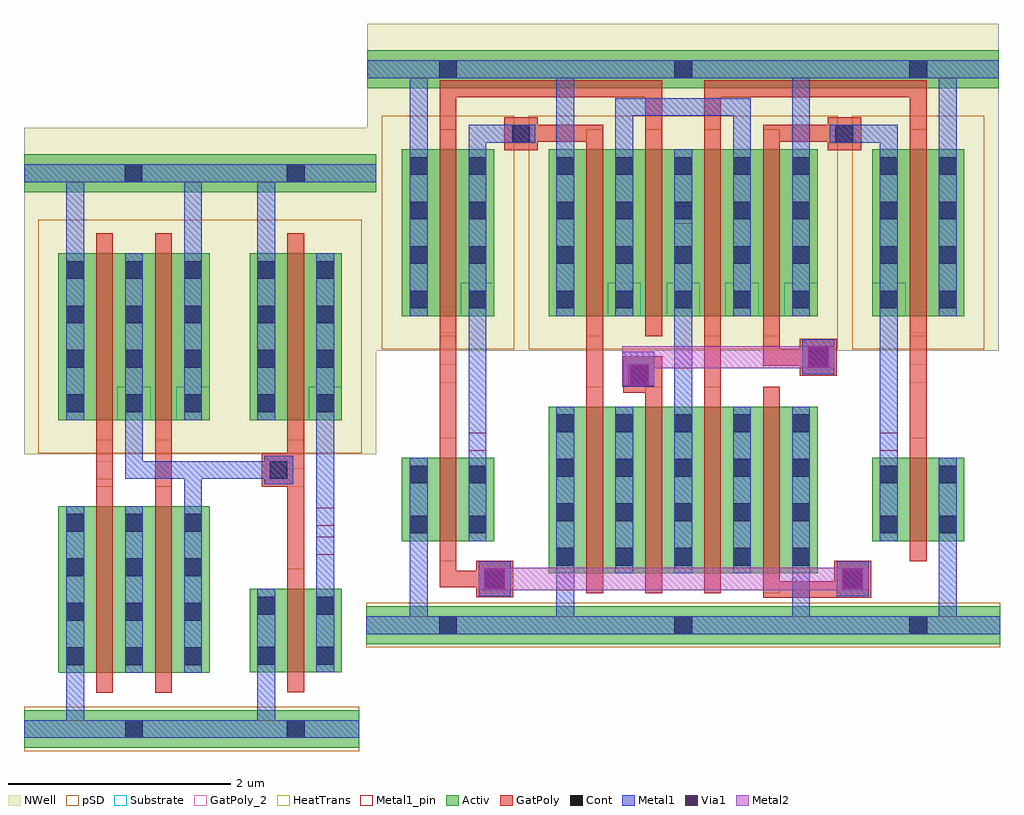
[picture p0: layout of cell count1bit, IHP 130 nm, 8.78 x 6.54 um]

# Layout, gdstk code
from math import pi, radians
import gdstk
lib = gdstk.Library(unit=1e-6, precision=5e-09)
def R(c, l, rs):  # rectangles x0, y0, x1, y1
    for r in rs: c.add(gdstk.rectangle(r[:2], r[2:], *l))
def A(c, l, x, y, w, h, nx, ny, dx, dy):  # array of equal rectangles
    R(c, l, [(x+i*dx, y+j*dy, x+i*dx+w, y+j*dy+h) for i in range(nx) for j in range(ny)])
Activ = (1, 0)
GatPoly = (5, 0)
GatPoly_2 = (5, 2)
Cont = (6, 0)
Metal1 = (8, 0)
Metal1_pin = (8, 2)
Metal2 = (10, 0)
pSD = (14, 0)
Via1 = (19, 0)
NWell = (31, 0)
Substrate = (40, 0)
HeatTrans = (51, 0)

nmos_1_1 = lib.new_cell('nmos$1$1')
R(nmos_1_1, Activ, [(0,0,0.3,0.3), (0,0,0.83,1.5), (0.53,0,0.83,0.3)])
R(nmos_1_1, GatPoly, [(0.34,-0.18,0.49,1.68)])
R(nmos_1_1, GatPoly_2, [(0.34,-0.18,0.49,1.68)])
A(nmos_1_1, Cont, 0.07, 0.07, 0.16, 0.16, 1, 4, 0, 0.4)
A(nmos_1_1, Cont, 0.6, 0.07, 0.16, 0.16, 1, 4, 0, 0.4)
R(nmos_1_1, Metal1, [(0.07,0,0.23,1.5), (0.6,0,0.76,1.5)])
R(nmos_1_1, Metal1_pin, [(0.07,0,0.23,1.5), (0.6,0,0.76,1.5)])
R(nmos_1_1, HeatTrans, [(0.34,-0.18,0.49,1.68)])
nmos_1_1.add(gdstk.Label('nmos', (0.415,0.75), layer=63, texttype=0))
nmos_1_1.add(gdstk.Label('nmos', (0.415,0.75), layer=51, texttype=0))

pmos_2 = lib.new_cell('pmos$2')
R(pmos_2, Activ, [(0,0,0.3,0.3), (0,0,0.83,1.5), (0.53,0,0.83,0.3)])
R(pmos_2, GatPoly, [(0.34,-0.18,0.49,1.68), (0.34,-0.18,0.49,1.68)])
A(pmos_2, Cont, 0.07, 0.07, 0.16, 0.16, 1, 4, 0, 0.4)
A(pmos_2, Cont, 0.6, 0.07, 0.16, 0.16, 1, 4, 0, 0.4)
R(pmos_2, Metal1, [(0.07,0,0.23,1.5), (0.07,0,0.23,1.5), (0.6,0,0.76,1.5), (0.6,0,0.76,1.5)])
R(pmos_2, pSD, [(-0.18,-0.3,1.01,1.8)])
R(pmos_2, NWell, [(-0.31,-0.31,1.14,1.81)])
R(pmos_2, Substrate, [(0.53,0,0.83,0.3)])
R(pmos_2, HeatTrans, [(0.34,-0.18,0.49,1.68)])
pmos_2.add(gdstk.Label('pmos', (0.415,0.75), layer=63, texttype=0))
pmos_2.add(gdstk.Label('pmos', (0.415,0.75), layer=51, texttype=0))

nand = lib.new_cell('nand')
R(nand, Activ, [(-2.935,-1.84,-0.955,-1.5), (-2.935,3.16,-0.955,3.5)])
R(nand, GatPoly, [(-2.285,-0.62,-2.135,1.58), (-1.755,-0.62,-1.605,1.585)])
R(nand, GatPoly_2, [(-1.755,0.46,-1.605,0.625), (-2.285,0.575,-2.135,0.74)])
R(nand, Cont, [(-2.025,-1.75,-1.865,-1.59), (-2.025,-1.75,-1.865,-1.59), (-2.03,3.25,-1.87,3.41)])
R(nand, Metal1, [(-2.935,-1.75,-0.955,-1.59), (-2.555,-1.75,-2.395,-0.535), (-1.495,-0.13,-1.335,0.74), (-2.555,1.98,-2.395,3.41), (-1.495,1.98,-1.335,3.41), (-2.935,3.25,-0.955,3.41)])
R(nand, Metal1_pin, [(-2.935,-1.75,-0.955,-1.59), (-1.495,-0.295,-1.335,-0.135), (-2.935,3.25,-0.955,3.41), (-2.03,3.25,-1.87,3.41)])
R(nand, pSD, [(-2.935,-1.87,-0.955,-1.47)])
R(nand, NWell, [(-2.935,2.92,-0.955,3.74)])
nand.add(gdstk.FlexPath([(-1.945,1.74),(-1.945,0.66),(-1.335,0.66)], 0.16, ends="flush", simple_path=True, layer=8, datatype=0))  # Metal1
nand.add(gdstk.Reference(nmos_1_1, (-2.625,-1.165)))
nand.add(gdstk.Reference(nmos_1_1, (-2.095,-1.165)))
nand.add(gdstk.Reference(pmos_2, (-2.625,1.11)))
nand.add(gdstk.Reference(pmos_2, (-2.095,1.11)))
nand.add(gdstk.Label('vss', (-1.955,-1.685), layer=8, texttype=2))
nand.add(gdstk.Label('vdd', (-1.965,3.325), layer=8, texttype=2))
nand.add(gdstk.Label('out', (-1.415,-0.22), layer=8, texttype=2))
nand.add(gdstk.Label('b', (-1.705,0.545), layer=5, texttype=2))
nand.add(gdstk.Label('a', (-2.235,0.66), layer=5, texttype=2))

m1_cont1_pmos = lib.new_cell('M1_Cont1_PMOS')
R(m1_cont1_pmos, Activ, [(-0.72,-0.175,0.73,0.165)])
R(m1_cont1_pmos, Cont, [(-0.075,-0.085,0.085,0.075)])
R(m1_cont1_pmos, Metal1, [(-0.72,-0.085,0.73,0.075)])
R(m1_cont1_pmos, Metal1_pin, [(-0.72,-0.085,0.73,0.075)])
R(m1_cont1_pmos, NWell, [(-0.72,-0.415,0.73,0.405)])

m1_bulkcont1_pmos = lib.new_cell('M1_BulkCont1_PMOS')
r = gdstk.Reference(m1_cont1_pmos, (-0.015,-0.015)); r.repetition = gdstk.Repetition(1, 1, v1=(0,0), v2=(0,0)); m1_bulkcont1_pmos.add(r)

m1_cont1_nmos = lib.new_cell('M1_Cont1_NMOS')
R(m1_cont1_nmos, Activ, [(-0.56,-0.175,0.58,0.165)])
R(m1_cont1_nmos, Cont, [(-0.07,-0.085,0.09,0.075)])
R(m1_cont1_nmos, Metal1, [(-0.56,-0.085,0.58,0.075)])
R(m1_cont1_nmos, Metal1_pin, [(-0.56,-0.085,0.58,0.075)])
R(m1_cont1_nmos, pSD, [(-0.56,-0.205,0.58,0.195)])

m1_bulkcont1_nmos = lib.new_cell('M1_BulkCont1_NMOS')
r = gdstk.Reference(m1_cont1_nmos, (0.005,0.01)); r.repetition = gdstk.Repetition(1, 1, v1=(0,0), v2=(0,0)); m1_bulkcont1_nmos.add(r)

nmos_1 = lib.new_cell('nmos$1')
R(nmos_1, Activ, [(0,0,0.3,0.3), (0,0,0.83,0.75), (0.53,0,0.83,0.3)])
R(nmos_1, GatPoly, [(0.34,-0.18,0.49,0.93)])
R(nmos_1, GatPoly_2, [(0.34,-0.18,0.49,0.93)])
R(nmos_1, Cont, [(0.07,0.07,0.23,0.23), (0.6,0.07,0.76,0.23), (0.07,0.52,0.23,0.68), (0.6,0.52,0.76,0.68)])
R(nmos_1, Metal1, [(0.07,0,0.23,0.75), (0.6,0,0.76,0.75)])
R(nmos_1, Metal1_pin, [(0.07,0,0.23,0.75), (0.6,0,0.76,0.75)])
R(nmos_1, HeatTrans, [(0.34,-0.18,0.49,0.93)])
nmos_1.add(gdstk.Label('nmos', (0.415,0.375), layer=63, texttype=0))
nmos_1.add(gdstk.Label('nmos', (0.415,0.375), layer=51, texttype=0))

pmos_1_1 = lib.new_cell('pmos$1$1')
R(pmos_1_1, Activ, [(0,0,0.3,0.3), (0,0,0.83,1.5), (0.53,0,0.83,0.3)])
R(pmos_1_1, GatPoly, [(0.34,-0.18,0.49,1.68), (0.34,-0.18,0.49,1.68)])
A(pmos_1_1, Cont, 0.07, 0.07, 0.16, 0.16, 1, 4, 0, 0.4)
A(pmos_1_1, Cont, 0.6, 0.07, 0.16, 0.16, 1, 4, 0, 0.4)
R(pmos_1_1, Metal1, [(0.07,0,0.23,1.5), (0.07,0,0.23,1.5), (0.6,0,0.76,1.5), (0.6,0,0.76,1.5)])
R(pmos_1_1, pSD, [(-0.18,-0.3,1.01,1.8)])
R(pmos_1_1, NWell, [(-0.31,-0.31,1.14,1.81)])
R(pmos_1_1, Substrate, [(0.53,0,0.83,0.3)])
R(pmos_1_1, HeatTrans, [(0.34,-0.18,0.49,1.68)])
pmos_1_1.add(gdstk.Label('pmos', (0.415,0.75), layer=63, texttype=0))
pmos_1_1.add(gdstk.Label('pmos', (0.415,0.75), layer=51, texttype=0))

inverter = lib.new_cell('inverter')
R(inverter, GatPoly, [(-0.075,-1.72,0.075,0.805)])
R(inverter, GatPoly_2, [(-0.075,-0.425,0.075,-0.26)])
R(inverter, Cont, [(-0.08,-2.685,0.08,-2.525), (-0.08,2.315,0.08,2.475)])
R(inverter, Metal1, [(-0.345,-2.685,-0.185,-1.72), (0.185,-1.72,0.345,0.805), (-0.345,1.37,-0.185,2.475)])
R(inverter, Metal1_pin, [(-0.08,-2.685,0.08,-2.525), (0.185,-1.035,0.345,-0.875), (-0.08,2.315,0.08,2.475)])
inverter.add(gdstk.Reference(m1_bulkcont1_pmos, (0.01,2.415)))
inverter.add(gdstk.Reference(m1_bulkcont1_nmos, (-0.015,-2.61)))
inverter.add(gdstk.Reference(nmos_1, (-0.415,-2.095)))
inverter.add(gdstk.Reference(pmos_1_1, (-0.415,0.175)))
inverter.add(gdstk.Label('vdd', (-0.015,2.39), layer=8, texttype=2))
inverter.add(gdstk.Label('vss', (-0.01,-2.62), layer=8, texttype=2))
inverter.add(gdstk.Label('out', (0.27,-0.95), layer=8, texttype=2))
inverter.add(gdstk.Label('in', (-0.025,-0.34), layer=5, texttype=2))

andgate = lib.new_cell('andgate')
R(andgate, GatPoly, [(0.49,-0.425,0.87,-0.125)])
R(andgate, GatPoly_2, [(-0.47,-0.36,-0.32,-0.2), (-1,-0.355,-0.85,-0.195)])
R(andgate, Cont, [(0.56,-0.355,0.72,-0.195)])
R(andgate, Metal1, [(-0.13,-2.685,0.03,-2.525), (0.51,-0.405,0.77,-0.145), (-0.05,-0.355,0.72,-0.195), (-0.21,2.315,-0.05,2.475)])
R(andgate, Metal1_pin, [(0.98,-0.775,1.14,-0.615)])
andgate.add(gdstk.Reference(nand, (1.285,-0.935)))
andgate.add(gdstk.Reference(inverter, (0.795,0)))
andgate.add(gdstk.Label('vdd', (-0.13,2.395), layer=8, texttype=0))
andgate.add(gdstk.Label('vss', (-0.055,-2.62), layer=8, texttype=0))
andgate.add(gdstk.Label('out', (1.06,-0.695), layer=8, texttype=2))
andgate.add(gdstk.Label('a', (-0.925,-0.275), layer=5, texttype=2))
andgate.add(gdstk.Label('b', (-0.395,-0.28), layer=5, texttype=2))

pmos = lib.new_cell('pmos')
R(pmos, Activ, [(0,0,0.3,0.3), (0,0,0.83,1.5), (0.53,0,0.83,0.3)])
R(pmos, GatPoly, [(0.34,-0.18,0.49,1.68), (0.34,-0.18,0.49,1.68)])
A(pmos, Cont, 0.07, 0.07, 0.16, 0.16, 1, 4, 0, 0.4)
A(pmos, Cont, 0.6, 0.07, 0.16, 0.16, 1, 4, 0, 0.4)
R(pmos, Metal1, [(0.07,0,0.23,1.5), (0.07,0,0.23,1.5), (0.6,0,0.76,1.5), (0.6,0,0.76,1.5)])
R(pmos, pSD, [(-0.18,-0.3,1.01,1.8)])
R(pmos, NWell, [(-0.31,-0.31,1.14,1.81)])
R(pmos, Substrate, [(0.53,0,0.83,0.3)])
R(pmos, HeatTrans, [(0.34,-0.18,0.49,1.68)])
pmos.add(gdstk.Label('pmos', (0.415,0.75), layer=63, texttype=0))
pmos.add(gdstk.Label('pmos', (0.415,0.75), layer=51, texttype=0))

nmos = lib.new_cell('nmos')
R(nmos, Activ, [(0,0,0.3,0.3), (0,0,0.83,1.5), (0.53,0,0.83,0.3)])
R(nmos, GatPoly, [(0.34,-0.18,0.49,1.68)])
R(nmos, GatPoly_2, [(0.34,-0.18,0.49,1.68)])
A(nmos, Cont, 0.07, 0.07, 0.16, 0.16, 1, 4, 0, 0.4)
A(nmos, Cont, 0.6, 0.07, 0.16, 0.16, 1, 4, 0, 0.4)
R(nmos, Metal1, [(0.07,0,0.23,1.5), (0.6,0,0.76,1.5)])
R(nmos, Metal1_pin, [(0.07,0,0.23,1.5), (0.6,0,0.76,1.5)])
R(nmos, HeatTrans, [(0.34,-0.18,0.49,1.68)])
nmos.add(gdstk.Label('nmos', (0.415,0.75), layer=63, texttype=0))
nmos.add(gdstk.Label('nmos', (0.415,0.75), layer=51, texttype=0))

via_stack_1 = lib.new_cell('via_stack$1')
R(via_stack_1, Metal1, [(-0.145,-0.105,0.145,0.105)])
R(via_stack_1, Metal2, [(-0.145,-0.1,0.145,0.1)])
R(via_stack_1, Via1, [(-0.095,-0.095,0.095,0.095)])

m1_cont1_pmos_2 = lib.new_cell('M1_Cont1_PMOS$2')
R(m1_cont1_pmos_2, Activ, [(-0.72,-0.175,0.73,0.165)])
R(m1_cont1_pmos_2, Cont, [(-0.075,-0.085,0.085,0.075)])
R(m1_cont1_pmos_2, Metal1, [(-0.72,-0.085,0.73,0.075)])
R(m1_cont1_pmos_2, Metal1_pin, [(-0.72,-0.085,0.73,0.075)])
R(m1_cont1_pmos_2, NWell, [(-0.72,-0.415,0.73,0.405)])

m1_bulkcont1_pmos_2 = lib.new_cell('M1_BulkCont1_PMOS$2')
r = gdstk.Reference(m1_cont1_pmos_2, (-0.015,-0.015)); r.repetition = gdstk.Repetition(1, 1, v1=(0,0), v2=(0,0)); m1_bulkcont1_pmos_2.add(r)

m1_cont1_nmos_2 = lib.new_cell('M1_Cont1_NMOS$2')
R(m1_cont1_nmos_2, Activ, [(-0.725,-0.175,0.725,0.165)])
R(m1_cont1_nmos_2, Cont, [(-0.07,-0.085,0.09,0.075)])
R(m1_cont1_nmos_2, Metal1, [(-0.725,-0.085,0.725,0.075)])
R(m1_cont1_nmos_2, Metal1_pin, [(-0.725,-0.085,0.725,0.075)])
R(m1_cont1_nmos_2, pSD, [(-0.725,-0.205,0.725,0.195)])

m1_bulkcont1_nmos_2 = lib.new_cell('M1_BulkCont1_NMOS$2')
r = gdstk.Reference(m1_cont1_nmos_2, (0.005,0.01)); r.repetition = gdstk.Repetition(1, 1, v1=(0,0), v2=(0,0)); m1_bulkcont1_nmos_2.add(r)

nmos_2 = lib.new_cell('nmos$2')
R(nmos_2, Activ, [(0,0,0.3,0.3), (0,0,0.83,0.75), (0.53,0,0.83,0.3)])
R(nmos_2, GatPoly, [(0.34,-0.18,0.49,0.93)])
R(nmos_2, GatPoly_2, [(0.34,-0.18,0.49,0.93)])
R(nmos_2, Cont, [(0.07,0.07,0.23,0.23), (0.6,0.07,0.76,0.23), (0.07,0.52,0.23,0.68), (0.6,0.52,0.76,0.68)])
R(nmos_2, Metal1, [(0.07,0,0.23,0.75), (0.6,0,0.76,0.75)])
R(nmos_2, Metal1_pin, [(0.07,0,0.23,0.75), (0.6,0,0.76,0.75)])
R(nmos_2, HeatTrans, [(0.34,-0.18,0.49,0.93)])
nmos_2.add(gdstk.Label('nmos', (0.415,0.375), layer=63, texttype=0))
nmos_2.add(gdstk.Label('nmos', (0.415,0.375), layer=51, texttype=0))

pmos_1_1_1 = lib.new_cell('pmos$1$1$1')
R(pmos_1_1_1, Activ, [(0,0,0.3,0.3), (0,0,0.83,1.5), (0.53,0,0.83,0.3)])
R(pmos_1_1_1, GatPoly, [(0.34,-0.18,0.49,1.68), (0.34,-0.18,0.49,1.68)])
A(pmos_1_1_1, Cont, 0.07, 0.07, 0.16, 0.16, 1, 4, 0, 0.4)
A(pmos_1_1_1, Cont, 0.6, 0.07, 0.16, 0.16, 1, 4, 0, 0.4)
R(pmos_1_1_1, Metal1, [(0.07,0,0.23,1.5), (0.07,0,0.23,1.5), (0.6,0,0.76,1.5), (0.6,0,0.76,1.5)])
R(pmos_1_1_1, pSD, [(-0.18,-0.3,1.01,1.8)])
R(pmos_1_1_1, NWell, [(-0.31,-0.31,1.14,1.81)])
R(pmos_1_1_1, Substrate, [(0.53,0,0.83,0.3)])
R(pmos_1_1_1, HeatTrans, [(0.34,-0.18,0.49,1.68)])
pmos_1_1_1.add(gdstk.Label('pmos', (0.415,0.75), layer=63, texttype=0))
pmos_1_1_1.add(gdstk.Label('pmos', (0.415,0.75), layer=51, texttype=0))

inverter_1_1 = lib.new_cell('inverter$1$1')
R(inverter_1_1, GatPoly, [(-0.075,-1.72,0.075,0.805)])
R(inverter_1_1, GatPoly_2, [(-0.075,-0.425,0.075,-0.26)])
R(inverter_1_1, Cont, [(-0.08,-2.685,0.08,-2.525), (-0.08,2.315,0.08,2.475)])
R(inverter_1_1, Metal1, [(-0.345,-2.685,-0.185,-1.72), (0.185,-1.72,0.345,0.805), (-0.345,1.37,-0.185,2.475)])
R(inverter_1_1, Metal1_pin, [(-0.08,-2.685,0.08,-2.525), (0.185,-1.035,0.345,-0.875), (-0.08,2.315,0.08,2.475)])
inverter_1_1.add(gdstk.Reference(m1_bulkcont1_pmos_2, (0.01,2.415)))
inverter_1_1.add(gdstk.Reference(m1_bulkcont1_nmos_2, (-0.015,-2.61)))
inverter_1_1.add(gdstk.Reference(nmos_2, (-0.415,-1.85)))
inverter_1_1.add(gdstk.Reference(pmos_1_1_1, (-0.415,0.175)))
inverter_1_1.add(gdstk.Label('vdd', (-0.015,2.39), layer=8, texttype=2))
inverter_1_1.add(gdstk.Label('vss', (-0.01,-2.62), layer=8, texttype=2))
inverter_1_1.add(gdstk.Label('out', (0.27,-0.95), layer=8, texttype=2))
inverter_1_1.add(gdstk.Label('in', (-0.025,-0.34), layer=5, texttype=2))

m1_cont1_pmos_1 = lib.new_cell('M1_Cont1_PMOS$1')
R(m1_cont1_pmos_1, Activ, [(-0.72,-0.175,0.73,0.165)])
R(m1_cont1_pmos_1, Cont, [(-0.075,-0.085,0.085,0.075)])
R(m1_cont1_pmos_1, Metal1, [(-0.72,-0.085,0.73,0.075)])
R(m1_cont1_pmos_1, Metal1_pin, [(-0.72,-0.085,0.73,0.075)])
R(m1_cont1_pmos_1, NWell, [(-0.72,-0.415,0.73,0.405)])

m1_bulkcont1_pmos_1 = lib.new_cell('M1_BulkCont1_PMOS$1')
r = gdstk.Reference(m1_cont1_pmos_1, (-0.015,-0.015)); r.repetition = gdstk.Repetition(1, 1, v1=(0,0), v2=(0,0)); m1_bulkcont1_pmos_1.add(r)

m1_cont1_nmos_1 = lib.new_cell('M1_Cont1_NMOS$1')
R(m1_cont1_nmos_1, Activ, [(-0.725,-0.175,0.725,0.165)])
R(m1_cont1_nmos_1, Cont, [(-0.07,-0.085,0.09,0.075)])
R(m1_cont1_nmos_1, Metal1, [(-0.725,-0.085,0.725,0.075)])
R(m1_cont1_nmos_1, Metal1_pin, [(-0.725,-0.085,0.725,0.075)])
R(m1_cont1_nmos_1, pSD, [(-0.725,-0.205,0.725,0.195)])

m1_bulkcont1_nmos_1 = lib.new_cell('M1_BulkCont1_NMOS$1')
r = gdstk.Reference(m1_cont1_nmos_1, (0.005,0.01)); r.repetition = gdstk.Repetition(1, 1, v1=(0,0), v2=(0,0)); m1_bulkcont1_nmos_1.add(r)

pmos_1 = lib.new_cell('pmos$1')
R(pmos_1, Activ, [(0,0,0.3,0.3), (0,0,0.83,1.5), (0.53,0,0.83,0.3)])
R(pmos_1, GatPoly, [(0.34,-0.18,0.49,1.68), (0.34,-0.18,0.49,1.68)])
A(pmos_1, Cont, 0.07, 0.07, 0.16, 0.16, 1, 4, 0, 0.4)
A(pmos_1, Cont, 0.6, 0.07, 0.16, 0.16, 1, 4, 0, 0.4)
R(pmos_1, Metal1, [(0.07,0,0.23,1.5), (0.07,0,0.23,1.5), (0.6,0,0.76,1.5), (0.6,0,0.76,1.5)])
R(pmos_1, pSD, [(-0.18,-0.3,1.01,1.8)])
R(pmos_1, NWell, [(-0.31,-0.31,1.14,1.81)])
R(pmos_1, Substrate, [(0.53,0,0.83,0.3)])
R(pmos_1, HeatTrans, [(0.34,-0.18,0.49,1.68)])
pmos_1.add(gdstk.Label('pmos', (0.415,0.75), layer=63, texttype=0))
pmos_1.add(gdstk.Label('pmos', (0.415,0.75), layer=51, texttype=0))

nmos_3 = lib.new_cell('nmos$3')
R(nmos_3, Activ, [(0,0,0.3,0.3), (0,0,0.83,0.75), (0.53,0,0.83,0.3)])
R(nmos_3, GatPoly, [(0.34,-0.18,0.49,0.93)])
R(nmos_3, GatPoly_2, [(0.34,-0.18,0.49,0.93)])
R(nmos_3, Cont, [(0.07,0.07,0.23,0.23), (0.6,0.07,0.76,0.23), (0.07,0.52,0.23,0.68), (0.6,0.52,0.76,0.68)])
R(nmos_3, Metal1, [(0.07,0,0.23,0.75), (0.6,0,0.76,0.75)])
R(nmos_3, Metal1_pin, [(0.07,0,0.23,0.75), (0.6,0,0.76,0.75)])
R(nmos_3, HeatTrans, [(0.34,-0.18,0.49,0.93)])
nmos_3.add(gdstk.Label('nmos', (0.415,0.375), layer=63, texttype=0))
nmos_3.add(gdstk.Label('nmos', (0.415,0.375), layer=51, texttype=0))

inverter_1 = lib.new_cell('inverter$1')
R(inverter_1, GatPoly, [(-0.075,-1.235,0.075,0.805)])
R(inverter_1, GatPoly_2, [(-0.075,-0.425,0.075,-0.26)])
R(inverter_1, Cont, [(-0.08,-2.685,0.08,-2.525), (-0.08,2.315,0.08,2.475)])
R(inverter_1, Metal1, [(-0.345,-2.685,-0.185,-1.72), (0.185,-1.305,0.345,0.805), (-0.345,1.37,-0.185,2.475)])
R(inverter_1, Metal1_pin, [(-0.08,-2.685,0.08,-2.525), (0.185,-1.035,0.345,-0.875), (-0.08,2.315,0.08,2.475)])
inverter_1.add(gdstk.Reference(m1_bulkcont1_pmos_1, (0.01,2.415)))
inverter_1.add(gdstk.Reference(m1_bulkcont1_nmos_1, (-0.015,-2.61)))
inverter_1.add(gdstk.Reference(pmos_1, (-0.415,0.175)))
inverter_1.add(gdstk.Reference(nmos_3, (-0.415,-1.85)))
inverter_1.add(gdstk.Label('vdd', (-0.015,2.39), layer=8, texttype=2))
inverter_1.add(gdstk.Label('vss', (-0.01,-2.62), layer=8, texttype=2))
inverter_1.add(gdstk.Label('out', (0.27,-0.95), layer=8, texttype=2))
inverter_1.add(gdstk.Label('in', (-0.025,-0.34), layer=5, texttype=2))

xor = lib.new_cell('xor')
R(xor, Activ, [(-2.81,-1.84,-0.01,-1.5), (-2.93,3.16,0.11,3.5)])
R(xor, GatPoly, [(-0.69,-1.425,-0.54,-1.085), (-0.69,-1.425,0.21,-1.275), (-0.05,-1.425,0.28,-1.09), (-3.27,-1.42,-2.94,-1.09), (-2.28,0.22,-2.13,1.195), (-1.95,0.42,-1.6,0.75), (-0.36,0.575,-0.03,0.905), (-3.6,0.96,-3.45,1.15), (-3.6,0.96,-3.45,1.15), (0.63,0.96,0.78,1.15), (-1.75,2.46,-1.6,3.23), (-3.02,2.6,-2.72,2.9), (-0.11,2.6,0.19,2.9), (-2.95,2.67,-2.79,2.68), (-0.04,2.67,0.12,2.68), (-3.02,2.68,-2.13,2.83), (-0.69,2.68,0.055,2.83), (-1.22,2.69,-1.07,3.23)])
R(xor, GatPoly_2, [(-3.6,0.96,-3.45,1.15), (0.63,0.96,0.78,1.15)])
R(xor, Cont, [(-1.49,-1.75,-1.33,-1.59), (-3.185,-1.335,-3.025,-1.175), (0.035,-1.335,0.195,-1.175), (-1.88,0.505,-1.72,0.665), (-0.275,0.66,-0.115,0.82), (-2.95,2.67,-2.79,2.83), (-0.04,2.67,0.12,2.83), (-1.49,3.25,-1.33,3.41)])
R(xor, Metal1, [(-2.81,-1.75,-0.01,-1.59), (-0.43,-1.745,-0.27,-0.95), (-3.25,-1.41,-2.96,-1.095), (-0.03,-1.41,0.26,-1.095), (-1.96,0.475,-1.67,0.79), (-0.34,0.585,-0.05,0.9), (-2.55,2.465,-2.39,3.41), (-0.43,2.465,-0.27,3.41), (-2.93,3.25,0.11,3.41)])
R(xor, Metal1_pin, [(-2.81,-1.75,-0.01,-1.59), (-2.81,-1.75,-0.01,-1.59), (-1.475,-1.74,-1.345,-1.61), (-1.49,1.94,-1.33,2.1), (-2.93,3.25,0.11,3.41), (-1.475,3.26,-1.345,3.39)])
R(xor, pSD, [(-2.81,-1.87,-0.01,-1.47)])
R(xor, NWell, [(-2.93,2.92,0.11,3.74)])
xor.add(gdstk.FlexPath([(-2.74,2.75),(-3.26,2.75),(-3.26,2.24)], 0.16, ends="flush", simple_path=True, layer=8, datatype=0))  # Metal1
xor.add(gdstk.FlexPath([(-0.09,2.75),(0.44,2.75),(0.44,2.39)], 0.16, ends="flush", simple_path=True, layer=8, datatype=0))  # Metal1
xor.add(gdstk.FlexPath([(-2.47,-0.975),(-2.47,-1.75)], 0.16, ends="flush", simple_path=True, layer=8, datatype=0))  # Metal1
xor.add(gdstk.FlexPath([(-1.41,1.345),(-1.41,0.01),(-1.41,-0.07),(-1.41,-0.07)], 0.16, ends="flush", simple_path=True, layer=8, datatype=0))  # Metal1
xor.add(gdstk.FlexPath([(-1.94,2.58),(-1.94,2.99),(-0.88,2.99),(-0.88,2.58)], 0.16, ends="flush", simple_path=True, layer=8, datatype=0))  # Metal1
xor.add(gdstk.FlexPath([(-1.6,3.155),(-3.525,3.155),(-3.525,2.87),(-3.525,2.64)], 0.15, ends="flush", simple_path=True, layer=5, datatype=0))  # GatPoly
xor.add(gdstk.FlexPath([(-3.2,-1.255),(-3.525,-1.255),(-3.525,-0.915)], 0.15, ends="flush", simple_path=True, layer=5, datatype=0))  # GatPoly
xor.add(gdstk.FlexPath([(-1.22,3.155),(0.705,3.155),(0.705,2.875),(0.705,2.655)], 0.15, ends="flush", simple_path=True, layer=5, datatype=0))  # GatPoly
xor.add(gdstk.FlexPath([(-0.615,1.19),(-0.615,0.74),(-0.395,0.74),(-0.36,0.74)], 0.15, ends="flush", simple_path=True, layer=5, datatype=0))  # GatPoly
xor.add(gdstk.FlexPath([(-1.145,1.19),(-1.145,0.295),(-1.145,0.295)], 0.15, ends="flush", simple_path=True, layer=5, datatype=0))  # GatPoly
xor.add(gdstk.FlexPath([(-1.96,0.74),(-0.38,0.74),(-0.05,0.74)], 0.2, ends="flush", simple_path=True, layer=10, datatype=0))  # Metal2
xor.add(gdstk.FlexPath([(-3.2,-1.255),(0.21,-1.255)], 0.2, ends="flush", simple_path=True, layer=10, datatype=0))  # Metal2
xor.add(gdstk.Reference(pmos, (-1.56,1.11)))
xor.add(gdstk.Reference(pmos, (-2.62,1.11)))
xor.add(gdstk.Reference(pmos, (-1.03,1.11)))
xor.add(gdstk.Reference(pmos, (-2.09,1.11)))
xor.add(gdstk.Reference(nmos, (-1.56,-1.205)))
xor.add(gdstk.Reference(nmos, (-1.03,-1.205)))
xor.add(gdstk.Reference(nmos, (-2.09,-1.205)))
xor.add(gdstk.Reference(nmos, (-2.62,-1.205)))
xor.add(gdstk.Reference(via_stack_1, (-3.105,-1.255)))
xor.add(gdstk.Reference(via_stack_1, (0.115,-1.255)))
xor.add(gdstk.Reference(via_stack_1, (-1.815,0.585)))
xor.add(gdstk.Reference(inverter_1_1, (-3.525,0.935)))
xor.add(gdstk.Reference(inverter_1, (0.705,0.935), rotation=pi, x_reflection=True))
xor.add(gdstk.Reference(via_stack_1, (-0.195,0.74)))
xor.add(gdstk.Label('out', (-1.41,2.03), layer=8, texttype=2))
xor.add(gdstk.Label('a', (0.72,1.065), layer=5, texttype=2))
xor.add(gdstk.Label('b', (-3.545,1.06), layer=5, texttype=2))
xor.add(gdstk.Label('vss', (-1.41,-1.675), layer=8, texttype=25))
xor.add(gdstk.Label('vdd', (-1.41,3.325), layer=8, texttype=25))

count1bit = lib.new_cell('count1bit')
count1bit.add(gdstk.Reference(andgate, (0,0)))
count1bit.add(gdstk.Reference(xor, (5.69,0)))

lib.write_gds('count1bit.gds')
